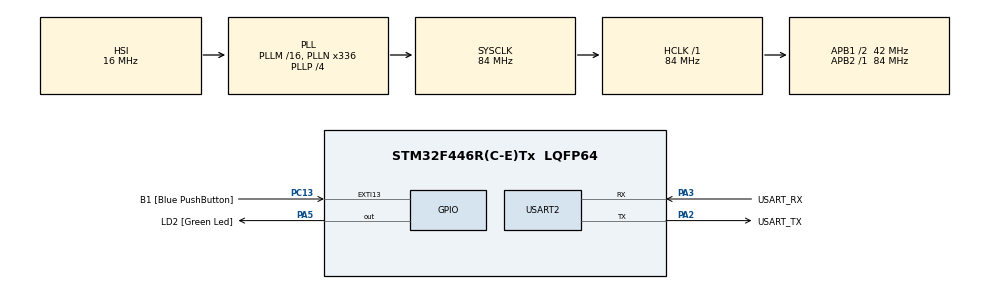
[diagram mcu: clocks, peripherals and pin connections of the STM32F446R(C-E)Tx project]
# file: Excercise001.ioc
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Mcu.Family=STM32F4
VP_SYS_VS_tim6.Mode=TIM6
PH0-OSC_IN.Signal=RCC_OSC_IN
RCC.CortexFreq_Value=84000000
NVIC.TIM6_DAC_IRQn=true\:0\:0\:false\:false\:true\:false\:true
PC13.Signal=GPXTI13
PA14.GPIO_Label=TCK
PC13.GPIO_Label=B1 [Blue PushButton]
RCC.APB1CLKDivider=RCC_HCLK_DIV2
PC14-OSC32_IN.Signal=RCC_OSC32_IN
RCC.SYSCLKSource=RCC_SYSCLKSOURCE_PLLCLK
ProjectManager.StackSize=0x400
PA13.Signal=SYS_JTMS-SWDIO
PA3.Mode=Asynchronous
ProjectManager.TargetToolchain=STM32CubeIDE
RCC.HCLKFreq_Value=84000000
RCC.APB2TimFreq_Value=84000000
RCC.USBFreq_Value=168000000
RCC.LSE_VALUE=32768
PC15-OSC32_OUT.Signal=RCC_OSC32_OUT
RCC.AHBFreq_Value=84000000
PA5.Signal=GPIO_Output
RCC.HSE_VALUE=8000000
PB3.Mode=Trace_Asynchronous_SW
board=NUCLEO-F446RE
RCC.VCOOutputFreq_Value=336000000
RCC.APB2Freq_Value=84000000
PA14.Mode=Trace_Asynchronous_SW
PH1-OSC_OUT.Signal=RCC_OSC_OUT
PA13.Mode=Trace_Asynchronous_SW
Mcu.Name=STM32F446R(C-E)Tx
PA2.Signal=USART2_TX
PA13.GPIO_Label=TMS
RCC.FLatency-AdvancedSettings=FLASH_LATENCY_2
PB3.Signal=SYS_JTDO-SWO
RCC.SYSCLKFreq_VALUE=84000000
Mcu.Package=LQFP64
NVIC.TimeBase=TIM6_DAC_IRQn
PA5.GPIO_Label=LD2 [Green Led]
PC13.GPIO_ModeDefaultEXTI=GPIO_MODE_IT_FALLING
USART2.VirtualMode=VM_ASYNC
PA2.GPIO_Label=USART_TX
NVIC.TimeBaseIP=TIM6
PA14.Signal=SYS_JTCK-SWCLK
ProjectManager.HeapSize=0x200
RCC.HSI_VALUE=16000000
RCC.PLLP=RCC_PLLP_DIV4
NVIC.PriorityGroup=NVIC_PRIORITYGROUP_4
RCC.PLLN=336
RCC.APB1TimFreq_Value=84000000
PA2.Mode=Asynchronous
RCC.APB1Freq_Value=42000000
PA3.GPIO_Label=USART_RX
PA3.Signal=USART2_RX
PB3.GPIO_Label=SWO

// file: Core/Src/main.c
/* USER CODE BEGIN Header */
/**
  ******************************************************************************
  * @file           : main.c
  * @brief          : Main program body
  ******************************************************************************
  * @attention
  *
  * <h2><center>&copy; Copyright (c) 2021 STMicroelectronics.
  * All rights reserved.</center></h2>
  *
  * This software component is licensed by ST under BSD 3-Clause license,
  * the "License"; You may not use this file except in compliance with the
  * License. You may obtain a copy of the License at:
  *                        opensource.org/licenses/BSD-3-Clause
  *
  ******************************************************************************
  */
/* USER CODE END Header */
#include "main.h"

/* USER CODE BEGIN Includes */
#include <stdio.h>
#include "FreeRTOS.h"
#include "task.h"

/* USER CODE END Includes */

UART_HandleTypeDef huart2;

void SystemClock_Config(void);
static void MX_GPIO_Init(void);
static void MX_USART2_UART_Init(void);

/* USER CODE BEGIN PFP */

static void task1_handler(void* parameters);
static void task2_handler(void* parameters);

/* USER CODE END PFP */

int main(void)
{
  /* USER CODE BEGIN 1 */

	TaskHandle_t task_1_handle;
	TaskHandle_t task_2_handle;
	BaseType_t status;

  /* USER CODE END 1 */

  /* MCU Configuration--------------------------------------------------------*/

  /* Reset of all peripherals, Initializes the Flash interface and the Systick. */
  HAL_Init();

  /* Configure the system clock */
  SystemClock_Config();

  /* Initialize all configured peripherals */
  MX_GPIO_Init();
  MX_USART2_UART_Init();
  /* USER CODE BEGIN 2 */

/*
//  Define Tasks
//  task handler go in  user code 4
*/
  status = xTaskCreate(task1_handler, "Task-1", 200, "Hello world from task-1", 2, &task_1_handle);
  configASSERT(status == pdPASS); //macro -> activates assert and traps code in infinite loop -> good for debugging

  status = xTaskCreate(task2_handler, "Task-2", 200, "Hello world from task-2", 2, &task_2_handle);
  configASSERT(status == pdPASS);

  //Start the freeRTOS scheduler
  vTaskStartScheduler(); //only return is problem launching scheduler (eg. memory insufficient)

 //if the control comes here, the scheduler has failed due to insufficient memory in the heap

  /* USER CODE END 2 */

  /* Infinite loop */
  while (1)
  {

  }
}

void SystemClock_Config(void)
{
  RCC_OscInitTypeDef RCC_OscInitStruct = {0};
  RCC_ClkInitTypeDef RCC_ClkInitStruct = {0};

  /** Configure the main internal regulator output voltage
  */
  __HAL_RCC_PWR_CLK_ENABLE();
  __HAL_PWR_VOLTAGESCALING_CONFIG(PWR_REGULATOR_VOLTAGE_SCALE3);
  /** Initializes the RCC Oscillators according to the specified parameters
  * in the RCC_OscInitTypeDef structure.
  */
  RCC_OscInitStruct.OscillatorType = RCC_OSCILLATORTYPE_HSI;
  RCC_OscInitStruct.HSIState = RCC_HSI_ON;
  RCC_OscInitStruct.HSICalibrationValue = RCC_HSICALIBRATION_DEFAULT;
  RCC_OscInitStruct.PLL.PLLState = RCC_PLL_ON;
  RCC_OscInitStruct.PLL.PLLSource = RCC_PLLSOURCE_HSI;
  RCC_OscInitStruct.PLL.PLLM = 16;
  RCC_OscInitStruct.PLL.PLLN = 336;
  RCC_OscInitStruct.PLL.PLLP = RCC_PLLP_DIV4;
  RCC_OscInitStruct.PLL.PLLQ = 2;
  RCC_OscInitStruct.PLL.PLLR = 2;
  if (HAL_RCC_OscConfig(&RCC_OscInitStruct) != HAL_OK)
  {
    Error_Handler();
  }
  /** Initializes the CPU, AHB and APB buses clocks
  */
  RCC_ClkInitStruct.ClockType = RCC_CLOCKTYPE_HCLK|RCC_CLOCKTYPE_SYSCLK
                              |RCC_CLOCKTYPE_PCLK1|RCC_CLOCKTYPE_PCLK2;
  RCC_ClkInitStruct.SYSCLKSource = RCC_SYSCLKSOURCE_PLLCLK;
  RCC_ClkInitStruct.AHBCLKDivider = RCC_SYSCLK_DIV1;
  RCC_ClkInitStruct.APB1CLKDivider = RCC_HCLK_DIV2;
  RCC_ClkInitStruct.APB2CLKDivider = RCC_HCLK_DIV1;

  if (HAL_RCC_ClockConfig(&RCC_ClkInitStruct, FLASH_LATENCY_2) != HAL_OK)
  {
    Error_Handler();
  }
}

static void MX_USART2_UART_Init(void)
{

  huart2.Instance = USART2;
  huart2.Init.BaudRate = 115200;
  huart2.Init.WordLength = UART_WORDLENGTH_8B;
  huart2.Init.StopBits = UART_STOPBITS_1;
  huart2.Init.Parity = UART_PARITY_NONE;
  huart2.Init.Mode = UART_MODE_TX_RX;
  huart2.Init.HwFlowCtl = UART_HWCONTROL_NONE;
  huart2.Init.OverSampling = UART_OVERSAMPLING_16;
  if (HAL_UART_Init(&huart2) != HAL_OK)
  {
    Error_Handler();
  }

}

static void MX_GPIO_Init(void)
{
  GPIO_InitTypeDef GPIO_InitStruct = {0};

  /* GPIO Ports Clock Enable */
  __HAL_RCC_GPIOC_CLK_ENABLE();
  __HAL_RCC_GPIOH_CLK_ENABLE();
  __HAL_RCC_GPIOA_CLK_ENABLE();
  __HAL_RCC_GPIOB_CLK_ENABLE();

  /*Configure GPIO pin Output Level */
  HAL_GPIO_WritePin(LD2_GPIO_Port, LD2_Pin, GPIO_PIN_RESET);

  /*Configure GPIO pin : B1_Pin */
  GPIO_InitStruct.Pin = B1_Pin;
  GPIO_InitStruct.Mode = GPIO_MODE_IT_FALLING;
  GPIO_InitStruct.Pull = GPIO_NOPULL;
  HAL_GPIO_Init(B1_GPIO_Port, &GPIO_InitStruct);

  /*Configure GPIO pin : LD2_Pin */
  GPIO_InitStruct.Pin = LD2_Pin;
  GPIO_InitStruct.Mode = GPIO_MODE_OUTPUT_PP;
  GPIO_InitStruct.Pull = GPIO_NOPULL;
  GPIO_InitStruct.Speed = GPIO_SPEED_FREQ_LOW;
  HAL_GPIO_Init(LD2_GPIO_Port, &GPIO_InitStruct);

}

/* USER CODE BEGIN 4 */

/*Task Handler*/
static void task1_handler(void* parameters)
{
	while(1)
	{
		printf("%s\n", (char*)parameters);
		taskYIELD(); //give up processor
	}
}

static void task2_handler(void* parameters)
{
	while(1)
		{
			printf("%s\n", (char*)parameters);
			taskYIELD(); //give up processor
		}
}

/* USER CODE END 4 */

 /**
  * @brief  Period elapsed callback in non blocking mode
  * @note   This function is called  when TIM6 interrupt took place, inside
  * HAL_TIM_IRQHandler(). It makes a direct call to HAL_IncTick() to increment
  * a global variable "uwTick" used as application time base.
  * @param  htim : TIM handle
  * @retval None
  */
void HAL_TIM_PeriodElapsedCallback(TIM_HandleTypeDef *htim)
{
  if (htim->Instance == TIM6) {
    HAL_IncTick();
  }
}

void Error_Handler(void)
{
  __disable_irq();
  while (1)
  {
  }
}

/************************ (C) COPYRIGHT STMicroelectronics *****END OF FILE****/
